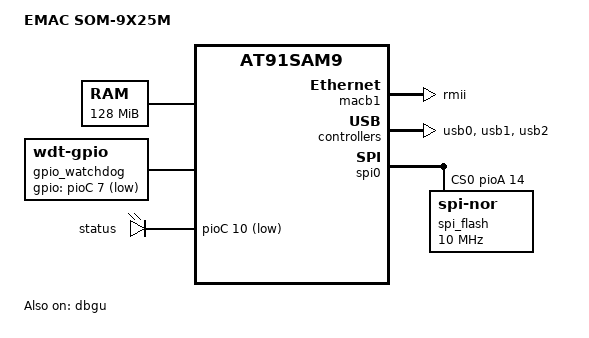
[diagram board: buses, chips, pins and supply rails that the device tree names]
/*
 * SoM-9x25m.dts - Device Tree file for the SoM-9x25m.
 *
 *  Copyright (C) 2014 EMAC Inc.
 *
 * Licensed under GPLv2 or later.
 */
/dts-v1/;
#include "at91sam9x25.dtsi"

/ {
	model = "EMAC SOM-9X25M";
	compatible = "atmel,at91sam9x25ek", "atmel,at91sam9x5ek", "atmel,at91sam9x5", "atmel,at91sam9";

	aliases {
		serial0 = &usart3;
		serial1 = &usart0;
		serial3 = &uart0;
		serial5 = &dbgu;
		spi0 = &spi0;
		spi1 = &spi1;
	};

	chosen {
		bootargs = "root=/dev/sda1 rootfstype=ext4 rw rootwait";
		stdout-path = "serial5:115200n8";
		u-boot,dm-pre-reloc;
	};

	memory@20000000 {
		reg = <0x20000000 0x8000000>;
	};

	clocks {
		#address-cells = <1>;
		#size-cells = <1>;
		ranges;

		slow_xtal {
			clock-frequency = <32768>;
		};

		main_xtal {
			clock-frequency = <12000000>;
		};
	};
	
	gpio_watchdog: gpio-watchdog {
		/* MAX6747 */
		compatible = "linux,wdt-gpio";
		pinctrl-names = "default";
		pinctrl-0 = <&pinctrl_wdt>;
		gpios = <&pioC 7 GPIO_ACTIVE_LOW>;
		hw_algo = "toggle";
		always-running;
		hw_margin_ms = <1000>;
	};

	ahb {
		apb {
			pinctrl@fffff400 {
				pinctrl-names = "default";
				pinctrl-0 = <
					&pinctrl_phy_clk_en_gpio
					&pinctrl_usb_hub_en
				>;

				spi0 {
					pinctrl_spi0_cs: spi0-board {
						atmel,pins =
							<AT91_PIOA 14 AT91_PERIPH_GPIO AT91_PINCTRL_PULL_UP>;
					};
				};

				wdt_gpio {
					pinctrl_wdt: wdt-board {
						atmel,pins =
							<AT91_PIOC 6 AT91_PERIPH_GPIO AT91_PINCTRL_PULL_UP
							 AT91_PIOC 7 AT91_PERIPH_GPIO AT91_PINCTRL_PULL_UP>;
					};
				};

				led_gpio {
					pinctrl_led: led-board {
						atmel,pins =
							<AT91_PIOD 20 AT91_PERIPH_GPIO AT91_PINCTRL_PULL_DOWN>;
					};
				};
				phy_clk_en_gpio {
					pinctrl_phy_clk_en_gpio: phy-clk-board {
						atmel,pins =
							<AT91_PIOB 17 AT91_PERIPH_GPIO AT91_PINCTRL_PULL_UP>;
					};
				};
				usb {
					pinctrl_usb_hub_en: usb-hub-en-0 {
						atmel,pins =
							<AT91_PIOB 7 AT91_PERIPH_GPIO AT91_PINCTRL_PULL_UP
							AT91_PIOB 6 AT91_PERIPH_GPIO AT91_PINCTRL_PULL_UP>;
					};
				};
			};

			rtc@fffffeb0 {
				status = "okay";
			};
		};
	};

	gpio-leds {
		compatible = "gpio-leds";
		pinctrl-names = "default";
		pinctrl-0 = <&pinctrl_led>;
		led-stat {
			label = "status";
			gpios = <&pioC 10 1>;
			default-state = "on";
			linux,default-trigger = "none";
		};
	};
};

&macb1 {
	phy-mode = "rmii";
	status = "okay";
};

&usb0 {
	num-ports = <3>;
	status = "okay";
};

&usb1 {
	status = "okay";
};

&usb2 {
	status = "okay";
};

&spi0 {
	status = "okay";
	pinctrl-names = "default";
	pinctrl-0 = <&pinctrl_spi0 &pinctrl_spi0_cs>;
	num-cs = <1>;
	cs-gpios = <&pioA 14 0>;
	spi_flash: spi_flash@0 {
		compatible = "jedec,spi-nor";
		spi-max-frequency = <10000000>;
		reg = <0>;
	};
};

&dbgu {
	u-boot,dm-pre-reloc;
	status = "okay";
};
